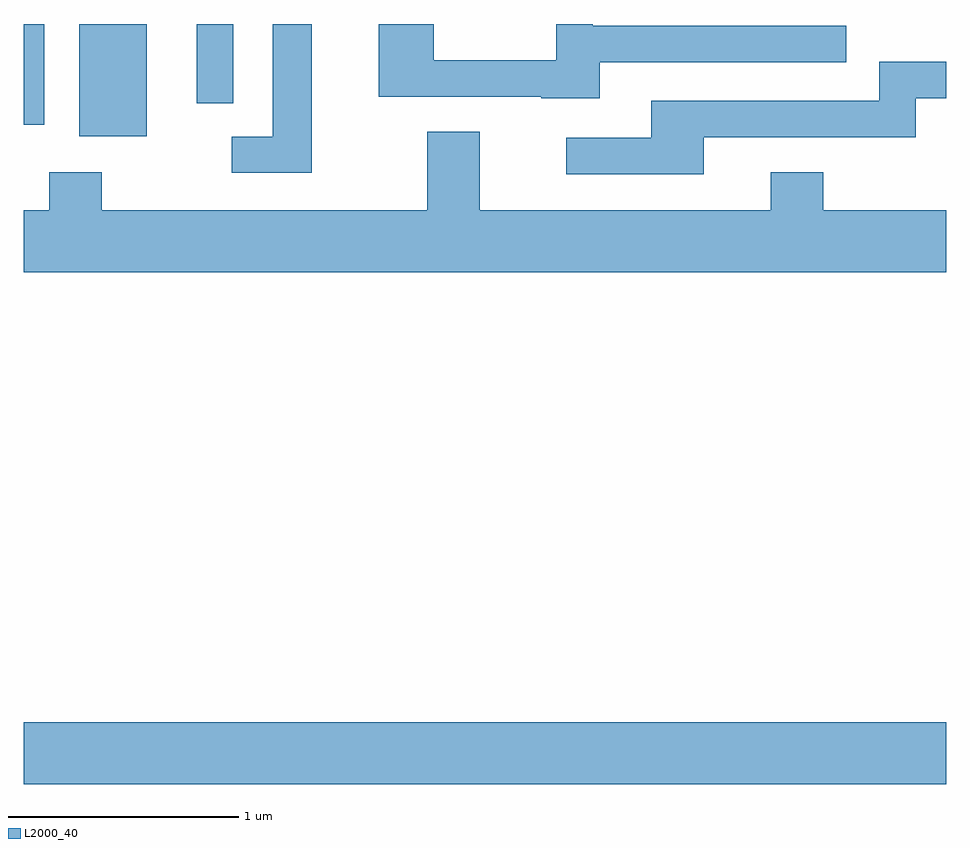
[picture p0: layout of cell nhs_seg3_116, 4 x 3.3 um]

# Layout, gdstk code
import gdstk
lib = gdstk.Library(unit=1e-6, precision=1e-09)
def R(c, l, rs):  # rectangles x0, y0, x1, y1
    for r in rs: c.add(gdstk.rectangle(r[:2], r[2:], *l))
def P(c, l, *ps):  # polygons
    for p in ps: c.add(gdstk.Polygon(p, *l))
L2000_40 = (2000, 40)

nhs_seg3_116 = lib.new_cell('nhs_seg3_116')
R(nhs_seg3_116, L2000_40, [(187.611,1212.596,191.611,1212.864), (187.851,1215.406,188.144,1215.892), (187.611,1215.456,187.699,1215.892), (188.361,1215.548,188.519,1215.892)])
P(nhs_seg3_116, L2000_40, [(188.859,1215.892),(188.691,1215.892),(188.691,1215.404),(188.513,1215.404),(188.513,1215.246),(188.859,1215.246)],
  [(190.109,1215.726),(191.178,1215.726),(191.178,1215.884),(190.079,1215.884),(190.079,1215.892),(189.921,1215.892),(189.921,1215.734),(189.389,1215.734),(189.389,1215.892),(189.151,1215.892),(189.151,1215.576),(189.855,1215.576),(189.855,1215.571),(190.109,1215.571)],
  [(190.559,1215.401),(191.479,1215.401),(191.479,1215.571),(191.611,1215.571),(191.611,1215.729),(191.321,1215.729),(191.321,1215.559),(190.331,1215.559),(190.331,1215.399),(189.963,1215.399),(189.963,1215.241),(190.559,1215.241)],
  [(191.611,1215.084),(191.079,1215.084),(191.079,1215.249),(190.851,1215.249),(190.851,1215.084),(189.589,1215.084),(189.589,1215.424),(189.361,1215.424),(189.361,1215.084),(187.949,1215.084),(187.949,1215.249),(187.721,1215.249),(187.721,1215.084),(187.611,1215.084),(187.611,1214.816),(191.611,1214.816)])

lib.write_gds('nhs_seg3_116.gds')
